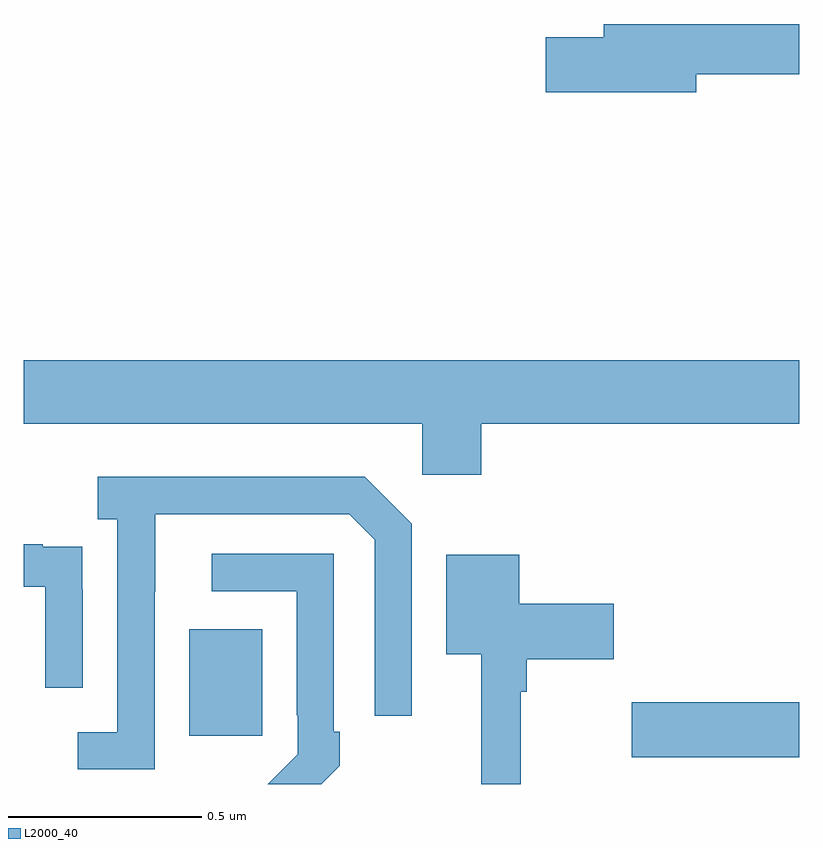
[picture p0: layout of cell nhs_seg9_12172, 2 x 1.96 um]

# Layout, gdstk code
import gdstk
lib = gdstk.Library(unit=1e-6, precision=1e-09)
def R(c, l, rs):  # rectangles x0, y0, x1, y1
    for r in rs: c.add(gdstk.rectangle(r[:2], r[2:], *l))
def P(c, l, *ps):  # polygons
    for p in ps: c.add(gdstk.Polygon(p, *l))
L2000_40 = (2000, 40)

nhs_seg9_12172 = lib.new_cell('nhs_seg9_12172')
R(nhs_seg9_12172, L2000_40, [(266.568,1187.569,267,1187.711), (265.427,1187.625,265.615,1187.899)])
P(nhs_seg9_12172, L2000_40, [(266.734,1189.33),(267,1189.33),(267,1189.459),(266.495,1189.459),(266.495,1189.425),(266.346,1189.425),(266.346,1189.283),(266.734,1189.283)],
  [(266.18,1188.428),(267,1188.428),(267,1188.592),(265,1188.592),(265,1188.428),(266.028,1188.428),(266.028,1188.297),(266.18,1188.297)],
  [(265.338,1187.995),(265.339,1187.995),(265.339,1188.195),(265.839,1188.195),(265.905,1188.129),(265.905,1187.676),(266.001,1187.676),(266.001,1188.171),(265.88,1188.292),(265.191,1188.292),(265.191,1188.182),(265.242,1188.182),(265.242,1187.634),(265.14,1187.634),(265.14,1187.538),(265.338,1187.538)],
  [(265.152,1188.002),(265.151,1188.002),(265.151,1188.111),(265.049,1188.111),(265.049,1188.118),(265,1188.118),(265,1188.009),(265.056,1188.009),(265.056,1187.748),(265.152,1187.748)],
  [(265.815,1187.547),(265.815,1187.635),(265.8,1187.635),(265.8,1188.093),(265.485,1188.093),(265.485,1187.997),(265.704,1187.997),(265.704,1187.677),(265.707,1187.677),(265.707,1187.577),(265.63,1187.5),(265.768,1187.5)],
  [(266.282,1187.738),(266.297,1187.738),(266.297,1187.822),(266.521,1187.822),(266.521,1187.964),(266.278,1187.964),(266.278,1188.091),(266.09,1188.091),(266.09,1187.834),(266.18,1187.834),(266.18,1187.5),(266.282,1187.5)])

lib.write_gds('nhs_seg9_12172.gds')
